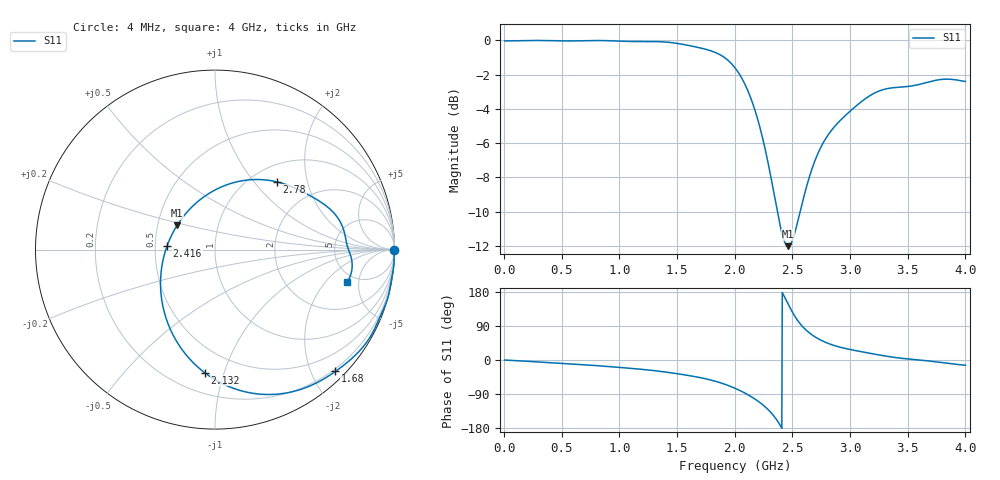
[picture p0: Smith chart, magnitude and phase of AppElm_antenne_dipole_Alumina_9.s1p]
! TOUCHSTONE file generated by CST MICROWAVE STUDIO
! Date and time: Sat May 14 10:03:01 2022
! Project name: AppElm_antenne_dipole_Alumina.cst
! Parameters = {L=33; e=0.035; f=2.45e+09; h=1.6; i=0.92; l1=2; lambda=122.449; ls=30; wl=1.7; ws=80}
! Header version: 2018
! Port assignment regex: !\s*Touchstone port\s*([0-9]+)\s*=\s*(CST MWS port|CST DS port)\s*([0-9]+|Zmin|Zmax)\s*\(\"(.*)\"\)(\s*mode\s*([0-9]+))?.*
! Touchstone port assignment:
! Touchstone port 1 = CST MWS port 1 ("")
# GHz S MA R 50
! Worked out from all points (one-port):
!   1000 points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, 4 MHz to 4 GHz, reference 50 ohm
!   lowest |S11| = -12.0 dB at 2.464 GHz (marker M1), VSWR 1.67, Z = 31.6 + j9.19 ohm
!   |S11| at or under -10 dB: 2.369 GHz to 2.567 GHz (197.8 MHz wide, 8.01 % of centre)
!   S11 on the Smith chart (normalised r, x): 4 MHz: open; 1.68 GHz: 0.16, -2.39; 2.132 GHz: 0.33, -0.86; 2.416 GHz: 0.58, +0.03; 2.78 GHz: 1.29, +1.32; 4 GHz: 4.14, -3.55
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0.004  0.997 -0.1
0.504  0.997 -8.9
1.004  0.9954 -19.7
1.3  0.9926 -28.0
1.504  0.9801 -36.3
1.68  0.9544 -45.3
1.768  0.9383 -51.0
1.848  0.9171 -57.5
1.932  0.8803 -66.0
2.004  0.8302 -74.9
2.068  0.7679 -84.1
2.132  0.6881 -94.8
2.212  0.5671 -110.9
2.284  0.4471 -129.3
2.348  0.3454 -151.3
2.416  0.2679 175.7
2.464  0.2507 147.1
2.504  0.2634 124.1
2.568  0.3171 95.2
2.632  0.3839 75.3
2.7  0.4496 60.3
2.78  0.5113 47.6
2.876  0.5656 37.0
3.004  0.623 27.5
3.252  0.7118 13.2
3.504  0.7341 2.7
3.788  0.7692 -6.4
4  0.7586 -13.9
